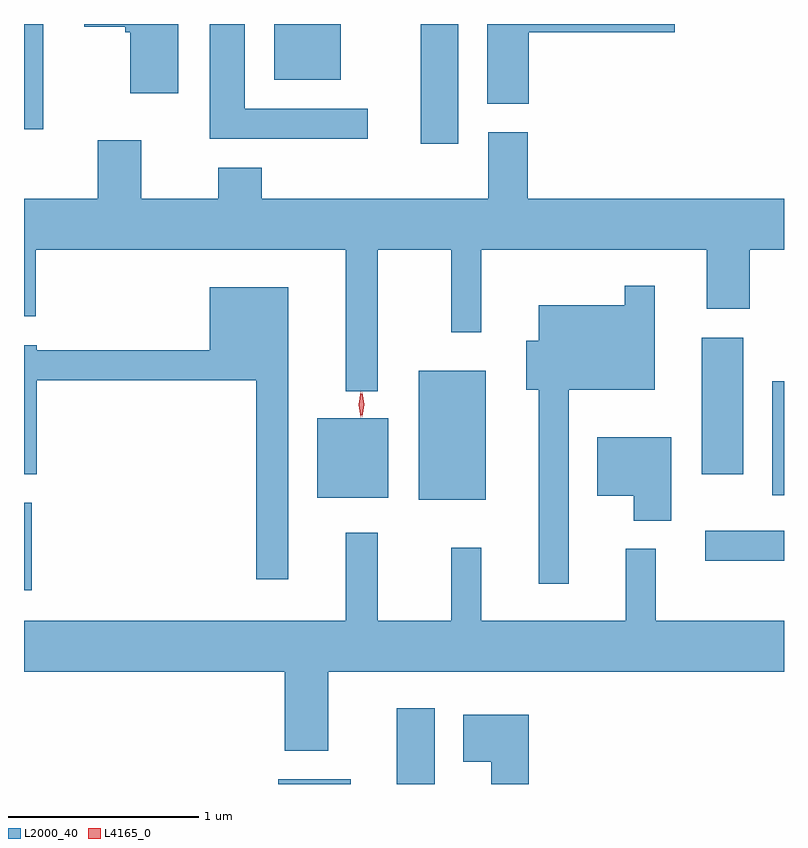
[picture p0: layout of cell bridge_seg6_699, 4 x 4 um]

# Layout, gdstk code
import gdstk
lib = gdstk.Library(unit=1e-6, precision=1e-09)
def R(c, l, rs):  # rectangles x0, y0, x1, y1
    for r in rs: c.add(gdstk.rectangle(r[:2], r[2:], *l))
def P(c, l, *ps):  # polygons
    for p in ps: c.add(gdstk.Polygon(p, *l))
L2000_40 = (2000, 40)
L4165_0 = (4165, 0)

bridge_seg6_699 = lib.new_cell('bridge_seg6_699')
R(bridge_seg6_699, L2000_40, [(558.276,1556.105,558.659,1556.129), (558.901,1556.105,559.099,1556.504), (556.938,1557.126,556.979,1557.584), (560.523,1557.281,560.938,1557.439), (559.016,1557.601,559.369,1558.279), (558.481,1557.611,558.854,1558.029), (560.876,1557.626,560.938,1558.224), (560.506,1557.736,560.724,1558.454), (559.026,1559.476,559.224,1560.105), (556.938,1559.551,557.039,1560.105), (558.256,1559.811,558.604,1560.105)])
P(bridge_seg6_699, L2000_40, [(558.748,1559.659),(558.099,1559.659),(558.099,1560.105),(557.916,1560.105),(557.916,1559.501),(558.748,1559.501)],
  [(557.749,1560.105),(557.256,1560.105),(557.256,1560.091),(557.471,1560.091),(557.471,1560.061),(557.496,1560.061),(557.496,1559.741),(557.749,1559.741)],
  [(559.594,1560.061),(560.364,1560.061),(560.364,1560.105),(559.376,1560.105),(559.376,1559.686),(559.594,1559.686)],
  [(558.799,1558.916),(559.186,1558.916),(559.186,1558.483),(559.344,1558.483),(559.344,1558.916),(560.531,1558.916),(560.531,1558.606),(560.759,1558.606),(560.759,1558.916),(560.938,1558.916),(560.938,1559.184),(559.589,1559.184),(559.589,1559.534),(559.381,1559.534),(559.381,1559.184),(558.189,1559.184),(558.189,1559.349),(557.961,1559.349),(557.961,1559.184),(557.554,1559.184),(557.554,1559.494),(557.326,1559.494),(557.326,1559.184),(556.938,1559.184),(556.938,1558.566),(556.999,1558.566),(556.999,1558.916),(558.631,1558.916),(558.631,1558.173),(558.799,1558.173)],
  [(559.804,1558.181),(560.259,1558.181),(560.259,1558.728),(560.101,1558.728),(560.101,1558.624),(559.646,1558.624),(559.646,1558.439),(559.581,1558.439),(559.581,1558.181),(559.646,1558.181),(559.646,1557.158),(559.804,1557.158)],
  [(558.329,1558.719),(557.916,1558.719),(557.916,1558.389),(557.004,1558.389),(557.004,1558.414),(556.938,1558.414),(556.938,1557.736),(557.004,1557.736),(557.004,1558.231),(558.161,1558.231),(558.161,1557.183),(558.329,1557.183)],
  [(560.344,1557.929),(559.956,1557.929),(559.956,1557.621),(560.146,1557.621),(560.146,1557.491),(560.344,1557.491)],
  [(558.539,1556.696),(560.938,1556.696),(560.938,1556.964),(560.264,1556.964),(560.264,1557.343),(560.106,1557.343),(560.106,1556.964),(559.344,1556.964),(559.344,1557.348),(559.186,1557.348),(559.186,1556.964),(558.799,1556.964),(558.799,1557.428),(558.631,1557.428),(558.631,1556.964),(556.938,1556.964),(556.938,1556.696),(558.311,1556.696),(558.311,1556.281),(558.539,1556.281)],
  [(559.594,1556.469),(559.251,1556.469),(559.251,1556.221),(559.396,1556.221),(559.396,1556.105),(559.594,1556.105)])
P(bridge_seg6_699, L4165_0, [(558.71,1558.034),(558.701,1558.102),(558.71,1558.17),(558.711,1558.17),(558.711,1558.17),(558.721,1558.102),(558.711,1558.034),(558.711,1558.034)],
  [(558.718,1558.038),(558.718,1558.039),(558.708,1558.103),(558.718,1558.167),(558.718,1558.167),(558.719,1558.167),(558.728,1558.103),(558.719,1558.039)])

lib.write_gds('bridge_seg6_699.gds')
